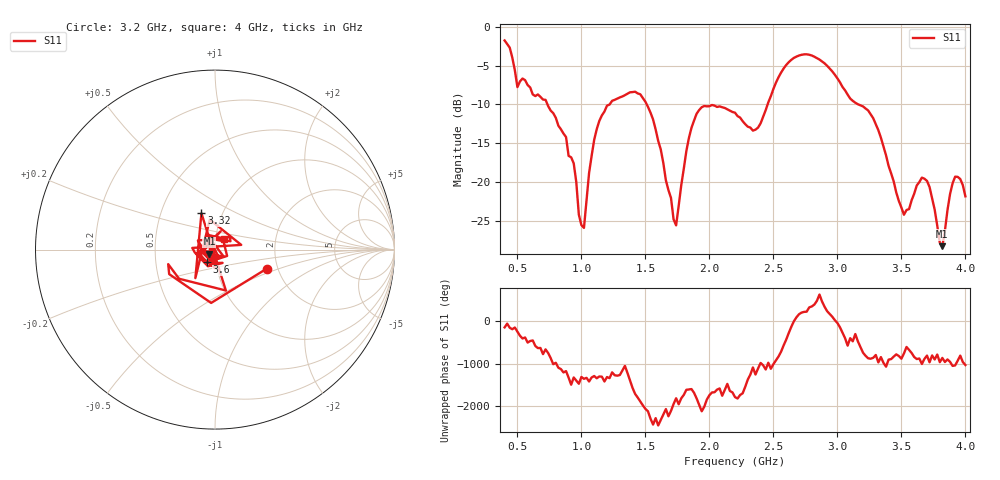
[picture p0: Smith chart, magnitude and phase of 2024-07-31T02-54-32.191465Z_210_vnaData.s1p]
!Created with skrf (http://scikit-rf.org).
# Hz S RI R 50.0
!freq ReS11 ImS11
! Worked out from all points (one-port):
!   181 points, 400 MHz to 4 GHz, reference 50 ohm
!   lowest |S11| = -28.3 dB at 3.82 GHz (marker M1), VSWR 1.08, Z = 46.9 - j2.12 ohm
!   |S11| at or under -10 dB: 735 MHz to 1.22 GHz (485.3 MHz wide, 49.6 % of centre); 1.511 GHz to 2.455 GHz (943.8 MHz wide, 47.6 % of centre); 3.165 GHz to end of sweep
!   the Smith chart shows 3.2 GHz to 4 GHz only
!   S11 on the Smith chart (normalised r, x): 3.2 GHz: 1.75, -0.41; 3.32 GHz: 0.80, +0.34; 3.6 GHz: 0.91, -0.13; 4 GHz: 1.10, +0.14
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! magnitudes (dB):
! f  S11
! 400 MHz  -1.7
! 500 MHz  -7.8
! 720 MHz  -9.4
! 860 MHz  -13.8
! 940 MHz  -17.6
! 980 MHz  -24.2
! 1.02 GHz  -25.9
! 1.12 GHz  -13.2
! 1.3 GHz  -9.1
! 1.5 GHz  -9.6
! 1.62 GHz  -15.8
! 1.72 GHz  -24.8
! 1.76 GHz  -23.1
! 1.9 GHz  -11.2
! 2.2 GHz  -11.1
! 2.38 GHz  -13.0
! 2.66 GHz  -4.0
! 2.86 GHz  -4.2
! 3.1 GHz  -9.2
! 3.2 GHz  -10.2
! 3.32 GHz  -13.3
! 3.52 GHz  -24.2
! 3.56 GHz  -23.5
! 3.6 GHz  -21.5
! 3.7 GHz  -19.9
! 3.82 GHz  -28.3
! 3.92 GHz  -19.3
! 4 GHz  -21.9
